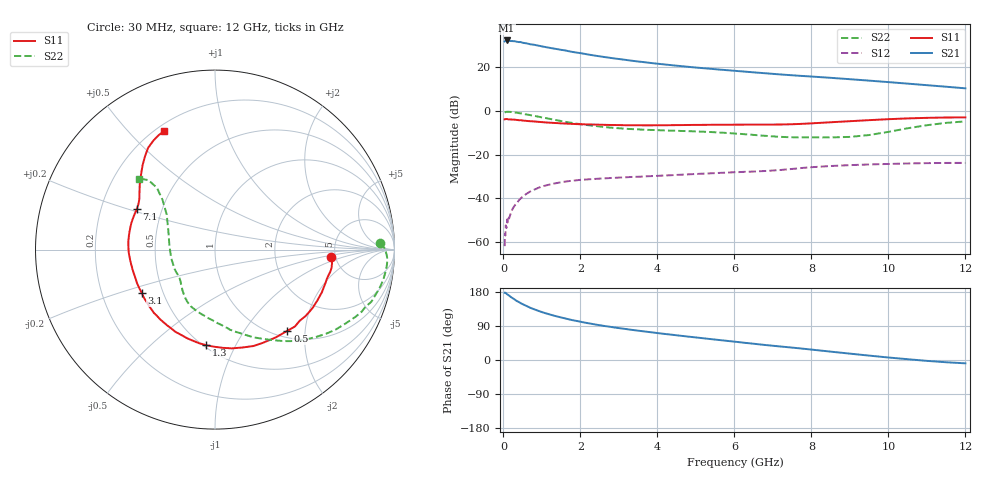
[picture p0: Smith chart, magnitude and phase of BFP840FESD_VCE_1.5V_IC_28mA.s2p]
! Infineon Technologies  Discrete & RF Semiconductors
! BFP840FESD
! VCE =  1.5 V,  IC =  28 mA
! Common Emitter S-Parameters:  May 2012
# GHz  S  MA  R  50
!  f  S11  S21  S12  S22
! GHz  MAG  ANG  MAG  ANG  MAG  ANG  MAG  ANG
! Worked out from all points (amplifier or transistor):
!   103 points, 30 MHz to 12 GHz, reference 50 ohm
!   highest |S21| = 32.4 dB at 80 MHz (marker M1)
!   |S21| within 3 dB of that: start of sweep to 1.083 GHz
!   unconditionally stable (mu >= 1): start of sweep to 32.62 MHz; 5.17 GHz to end of sweep
!   at 400 MHz: K = 0.18, MSG = 36.3 dB, |S12| = -40.9 dB
!   at 3.7 GHz: K = 0.84, MSG = 26.1 dB, |S12| = -29.9 dB
!   at 12 GHz: K = 1.10, MAG = 15.1 dB, |S12| = -23.8 dB
!   S11 on the Smith chart (normalised r, x): 30 MHz: 4.55, -0.61; 500 MHz: 1.13, -1.61; 1.3 GHz: 0.52, -0.77; 3.1 GHz: 0.38, -0.24; 7.1 GHz: 0.36, +0.21; 12 GHz: 0.23, +0.63
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0.03  0.6453 -3.5  39.46 177.2  0.0008 96.3  0.9218 2.3
0.05  0.6542 -5.4  40.62 177.6  0.0014 82.9  0.9443 0.5
0.08  0.6575 -8.8  41.51 174.9  0.0021 91.6  0.9578 -2.0
0.13  0.6445 -14.5  40.27 171.0  0.0032 88.2  0.9608 -5.8
0.3  0.6335 -31.1  39.77 159.0  0.007 75.8  0.9288 -15.8
0.35  0.626 -36.1  38.7 155.5  0.0078 74.2  0.918 -18.5
0.45  0.6181 -43.8  38.06 149.8  0.01 71.3  0.887 -23.0
0.5  0.6063 -48.3  36.75 147.3  0.0109 70.6  0.8683 -25.5
0.6  0.5947 -55.5  35.59 142.5  0.0127 67.1  0.8346 -29.7
0.8  0.5783 -68.3  33 133.8  0.0158 61.8  0.776 -37.2
1  0.5581 -80.4  30.37 126.4  0.0186 57.6  0.7166 -44.1
1.3  0.5346 -95.3  27.1 117.3  0.0217 51.6  0.6376 -53.1
1.7  0.511 -111.8  23.48 107.3  0.0248 46.1  0.5485 -64.0
2.1  0.4964 -125.3  20.51 98.9  0.0268 42.2  0.4856 -73.3
2.6  0.484 -138.9  17.41 90.1  0.0286 39.5  0.4338 -83.0
3.1  0.4747 -149.5  15.17 82.8  0.0301 38.0  0.3975 -91.0
4.1  0.4729 -167.0  11.91 69.9  0.0331 37.6  0.362 -104.1
6.1  0.4867 166.7  8.24 47.3  0.0398 38.0  0.302 -125.4
7.1  0.4911 152.6  7.004 36.6  0.044 40.4  0.2593 -138.2
8.5  0.5538 139.2  5.777 22.1  0.055 37.0  0.2489 -169.0
10.5  0.6787 123.3  4.254 2.1  0.0629 28.5  0.4032 136.5
12  0.7171 113.2  3.317 -8.8  0.0649 25.3  0.5795 136.9
